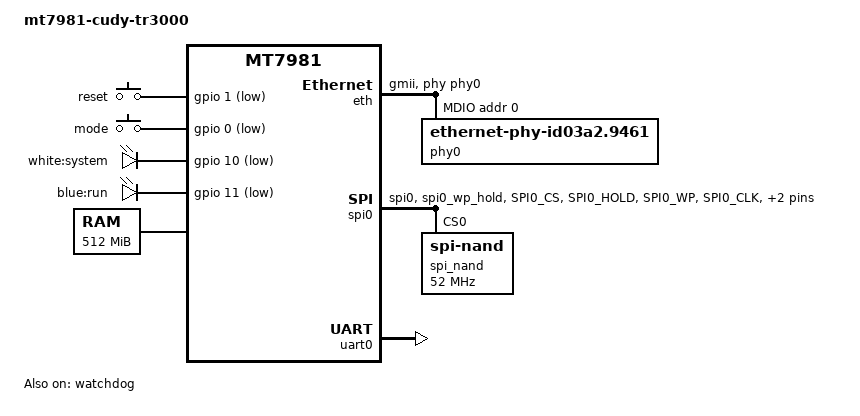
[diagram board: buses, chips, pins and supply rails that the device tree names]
// SPDX-License-Identifier: (GPL-2.0 OR MIT)

/dts-v1/;
#include "mt7981.dtsi"
#include <dt-bindings/gpio/gpio.h>

/ {
	#address-cells = <1>;
	#size-cells = <1>;
	model = "mt7981-cudy-tr3000";
	compatible = "mediatek,mt7981", "mediatek,mt7981-rfb";

	config {
		bootcmd = "mtkboardboot";
		blink_led = "blue:run";
		system_led = "white:system";
	};

	chosen {
		stdout-path = &uart0;
		tick-timer = &timer0;
	};

    mtd-layout {

		layout@0 {
			label = "default";
			cmdline = "console=ttyS0,115200n1 loglevel=8 swiotlb=512 firmware=0 mtd=ubi uart_en=1";
			mtdids = "nmbm0=nmbm0";
			mtdparts = "nmbm0:1024k(bl2),512k(u-boot-env),2048k(factory),256k(bdinfo),2048k(fip),65536k(ubi)";
		};

		layout@1 {
			label = "mod-112m";
			mtdids = "nmbm0=nmbm0";
			mtdparts = "nmbm0:1024k(bl2),512k(u-boot-env),2048k(factory),256k(bdinfo),2048k(fip),114688k(ubi)";
		};

		layout@2 {
			label = "maximum-114m";
			mtdids = "nmbm0=nmbm0";
			mtdparts = "nmbm0:1024k(bl2),512k(u-boot-env),2048k(factory),256k(bdinfo),2048k(fip),116736k(ubi)";
		};
	};

	gpio-keys {
		compatible = "gpio-keys";

		reset {
			label = "reset";
			gpios = <&gpio 1 GPIO_ACTIVE_LOW>;
		};

		mode {
			label = "mode";
			gpios = <&gpio 0 GPIO_ACTIVE_LOW>;
			debounce-interval = <60>;
		};
	};

    gpio-leds {
		compatible = "gpio-leds";

		led-0 {
			label = "white:system";
			gpios = <&gpio 10 GPIO_ACTIVE_LOW>;
		};

		led-1 {
			label = "blue:run";
			gpios = <&gpio 11 GPIO_ACTIVE_LOW>;
		};
	};

	memory@40000000 {
		device_type = "memory";
		reg = <0x40000000 0x20000000>;
	};
    
	bl2_verify {
		bl2_compatible = "spim-nand";
	};
};

&pinctrl {
	spi_flash_pins: spi0-pins-func-1 {
		mux {
			function = "flash";
			groups = "spi0", "spi0_wp_hold";
		};

		conf-pu {
			pins = "SPI0_CS", "SPI0_HOLD", "SPI0_WP";
			drive-strength = <MTK_DRIVE_8mA>;
			bias-pull-up = <MTK_PUPD_SET_R1R0_11>;
		};

		conf-pd {
			pins = "SPI0_CLK", "SPI0_MOSI", "SPI0_MISO";
			drive-strength = <MTK_DRIVE_8mA>;
			bias-pull-down = <MTK_PUPD_SET_R1R0_11>;
		};
	};
};

&eth {
	status = "okay";
	mediatek,gmac-id = <1>;
	phy-mode = "gmii";
	phy-handle = <&phy0>;

	mdio {
		phy0: ethernet-phy@0 {
            compatible = "ethernet-phy-id03a2.9461";
			reg = <0x0>;
			phy-mode = "gmii";
		};
	};
};

&spi0 {
	#address-cells = <1>;
	#size-cells = <0>;
	pinctrl-names = "default";
	pinctrl-0 = <&spi_flash_pins>;
	status = "okay";
	must_tx;
	enhance_timing;
	dma_ext;
	ipm_design;
	support_quad;
	tick_dly = <2>;
	sample_sel = <0>;

	spi_nand@0 {
		compatible = "spi-nand";
		reg = <0>;
		spi-max-frequency = <52000000>;
	};
};

&uart0 {
	status = "okay";
};

&watchdog {
	status = "okay";
};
